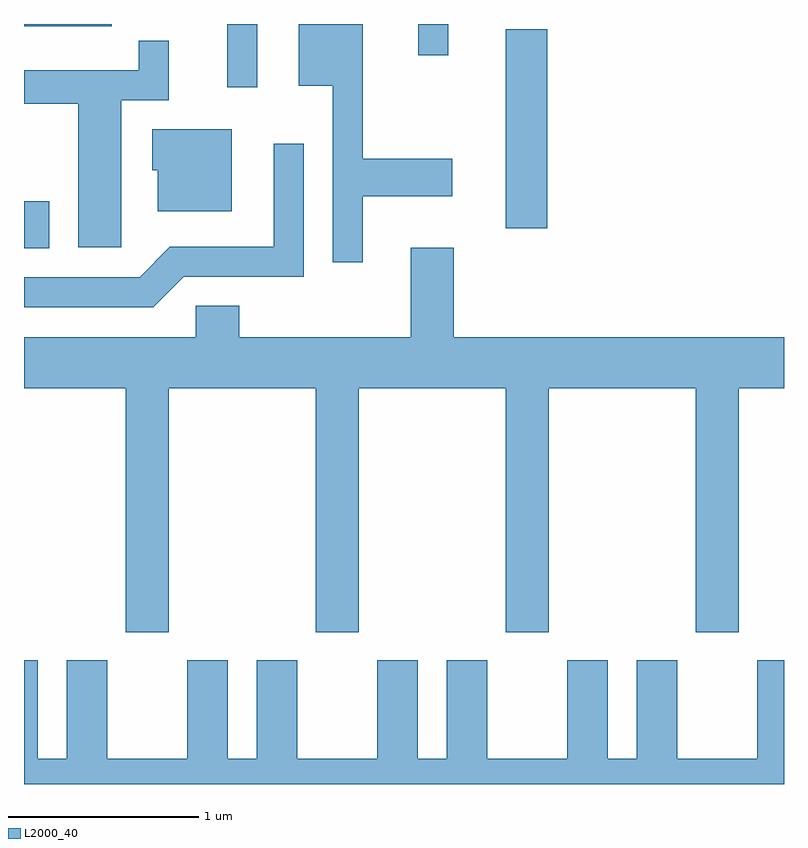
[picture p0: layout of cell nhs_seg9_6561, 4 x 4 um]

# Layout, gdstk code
import gdstk
lib = gdstk.Library(unit=1e-6, precision=1e-09)
def R(c, l, rs):  # rectangles x0, y0, x1, y1
    for r in rs: c.add(gdstk.rectangle(r[:2], r[2:], *l))
def P(c, l, *ps):  # polygons
    for p in ps: c.add(gdstk.Polygon(p, *l))
L2000_40 = (2000, 40)

nhs_seg9_6561 = lib.new_cell('nhs_seg9_6561')
R(nhs_seg9_6561, L2000_40, [(379.611,1959.251,379.744,1959.499), (382.146,1959.356,382.364,1960.404), (380.681,1960.098,380.839,1960.432), (381.686,1960.268,381.844,1960.432), (379.611,1960.421,380.073,1960.432)])
P(nhs_seg9_6561, L2000_40, [(381.394,1959.526),(381.864,1959.526),(381.864,1959.724),(381.394,1959.724),(381.394,1960.432),(381.056,1960.432),(381.056,1960.106),(381.236,1960.106),(381.236,1959.178),(381.394,1959.178)],
  [(380.124,1960.031),(380.374,1960.031),(380.374,1960.343),(380.216,1960.343),(380.216,1960.189),(379.611,1960.189),(379.611,1960.011),(379.896,1960.011),(379.896,1959.256),(380.124,1959.256)],
  [(380.704,1959.879),(380.286,1959.879),(380.286,1959.661),(380.316,1959.661),(380.316,1959.446),(380.704,1959.446)],
  [(380.452,1959.101),(381.084,1959.101),(381.084,1959.803),(380.926,1959.803),(380.926,1959.259),(380.379,1959.259),(380.219,1959.099),(379.611,1959.099),(379.611,1958.941),(380.292,1958.941)],
  [(380.374,1958.516),(381.146,1958.516),(381.146,1957.231),(381.374,1957.231),(381.374,1958.516),(382.146,1958.516),(382.146,1957.231),(382.374,1957.231),(382.374,1958.516),(383.146,1958.516),(383.146,1957.231),(383.374,1957.231),(383.374,1958.516),(383.611,1958.516),(383.611,1958.784),(381.874,1958.784),(381.874,1959.254),(381.646,1959.254),(381.646,1958.784),(380.744,1958.784),(380.744,1958.949),(380.516,1958.949),(380.516,1958.784),(379.611,1958.784),(379.611,1958.516),(380.146,1958.516),(380.146,1957.231),(380.374,1957.231)],
  [(383.611,1957.084),(383.471,1957.084),(383.471,1956.564),(383.049,1956.564),(383.049,1957.084),(382.836,1957.084),(382.836,1956.564),(382.684,1956.564),(382.684,1957.084),(382.471,1957.084),(382.471,1956.564),(382.049,1956.564),(382.049,1957.084),(381.836,1957.084),(381.836,1956.564),(381.684,1956.564),(381.684,1957.084),(381.471,1957.084),(381.471,1956.564),(381.049,1956.564),(381.049,1957.084),(380.836,1957.084),(380.836,1956.564),(380.684,1956.564),(380.684,1957.084),(380.471,1957.084),(380.471,1956.564),(380.049,1956.564),(380.049,1957.084),(379.836,1957.084),(379.836,1956.564),(379.684,1956.564),(379.684,1957.084),(379.611,1957.084),(379.611,1956.432),(383.611,1956.432)])

lib.write_gds('nhs_seg9_6561.gds')
